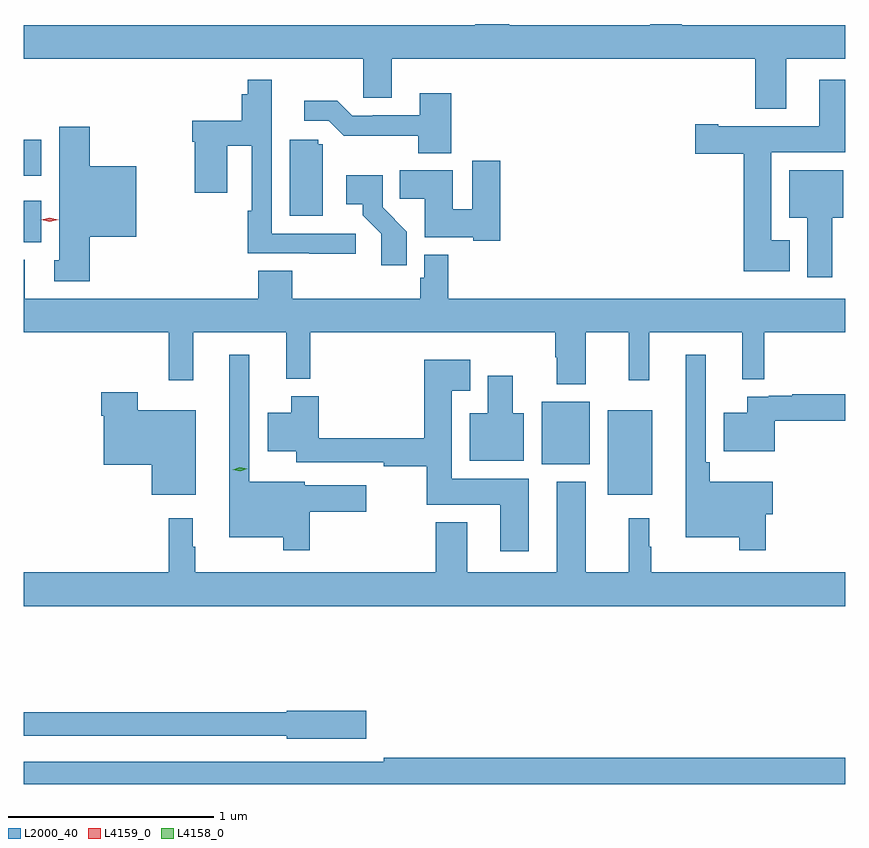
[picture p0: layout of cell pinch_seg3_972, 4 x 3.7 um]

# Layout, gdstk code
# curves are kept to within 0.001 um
import gdstk
lib = gdstk.Library(unit=1e-6, precision=1e-09)
def R(c, l, rs):  # rectangles x0, y0, x1, y1
    for r in rs: c.add(gdstk.rectangle(r[:2], r[2:], *l))
def P(c, l, *ps):  # polygons
    for p in ps: c.add(gdstk.Polygon(p, *l))
L2000_40 = (2000, 40)
L4158_0 = (4158, 0)
L4159_0 = (4159, 0)

pinch_seg3_972 = lib.new_cell('pinch_seg3_972')
R(pinch_seg3_972, L2000_40, [(415.106,728.099,415.321,728.509), (414.785,728.246,415.018,728.551), (412.262,729.327,412.348,729.529), (412.262,729.65,412.348,729.826)])
P(pinch_seg3_972, L2000_40, [(415.975,730.22),(416.262,730.22),(416.262,730.384),(415.466,730.384),(415.466,730.389),(415.313,730.389),(415.313,730.384),(414.626,730.384),(414.626,730.389),(414.461,730.389),(414.461,730.384),(412.262,730.384),(412.262,730.22),(413.916,730.22),(413.916,730.03),(414.055,730.03),(414.055,730.22),(415.823,730.22),(415.823,729.977),(415.975,729.977)],
  [(415.99,729.337),(415.9,729.337),(415.9,729.764),(416.262,729.764),(416.262,730.117),(416.135,730.117),(416.135,729.892),(415.642,729.892),(415.642,729.9),(415.53,729.9),(415.53,729.758),(415.766,729.758),(415.766,729.185),(415.99,729.185)],
  [(413.878,729.369),(413.469,729.369),(413.469,730.117),(413.353,730.117),(413.353,730.048),(413.324,730.048),(413.324,729.919),(413.084,729.919),(413.084,729.815),(413.096,729.815),(413.096,729.567),(413.254,729.567),(413.254,729.797),(413.373,729.797),(413.373,729.479),(413.353,729.479),(413.353,729.273),(413.653,729.273),(413.653,729.271),(413.878,729.271)],
  [(414.344,730.051),(414.191,730.051),(414.191,729.945),(413.962,729.945),(413.962,729.942),(413.862,729.942),(413.789,730.015),(413.628,730.015),(413.628,729.918),(413.748,729.918),(413.821,729.845),(414.184,729.846),(414.184,729.761),(414.344,729.761)],
  [(412.583,729.353),(412.81,729.353),(412.81,729.697),(412.583,729.697),(412.583,729.889),(412.436,729.889),(412.436,729.24),(412.412,729.24),(412.412,729.138),(412.583,729.138)],
  [(413.719,729.804),(413.697,729.804),(413.697,729.825),(413.558,729.825),(413.558,729.456),(413.719,729.456)],
  [(414.581,729.724),(414.446,729.724),(414.446,729.488),(414.352,729.488),(414.352,729.676),(414.094,729.676),(414.094,729.538),(414.215,729.538),(414.215,729.35),(414.45,729.35),(414.45,729.335),(414.581,729.335)],
  [(416.197,729.446),(416.251,729.446),(416.251,729.676),(415.988,729.676),(415.988,729.446),(416.075,729.446),(416.075,729.156),(416.197,729.156)],
  [(414.128,729.378),(414.009,729.497),(414.009,729.652),(413.832,729.652),(413.832,729.512),(413.912,729.512),(413.912,729.457),(414.003,729.367),(414.003,729.216),(414.128,729.216)],
  [(414.997,728.888),(415.208,728.888),(415.208,728.655),(415.307,728.655),(415.307,728.888),(415.76,728.888),(415.76,728.659),(415.868,728.659),(415.868,728.888),(416.262,728.888),(416.262,729.052),(414.329,729.052),(414.329,729.265),(414.213,729.265),(414.213,729.153),(414.193,729.153),(414.193,729.052),(413.57,729.052),(413.57,729.188),(413.405,729.188),(413.405,729.052),(412.267,729.052),(412.267,729.242),(412.262,729.242),(412.262,728.888),(412.969,728.888),(412.969,728.655),(413.087,728.655),(413.087,728.888),(413.54,728.888),(413.54,728.663),(413.657,728.663),(413.657,728.888),(414.85,728.888),(414.85,728.768),(414.857,728.768),(414.857,728.636),(414.997,728.636)],
  [(413.654,728.014),(413.929,728.014),(413.929,728.143),(413.631,728.143),(413.631,728.161),(413.361,728.161),(413.361,728.779),(413.264,728.779),(413.264,727.892),(413.526,727.892),(413.526,727.827),(413.654,727.827)],
  [(415.874,728.003),(415.909,728.003),(415.909,728.161),(415.601,728.161),(415.601,728.257),(415.581,728.257),(415.581,728.779),(415.484,728.779),(415.484,727.892),(415.746,727.892),(415.746,727.827),(415.874,727.827)],
  [(414.721,728.176),(414.346,728.176),(414.346,728.603),(414.436,728.603),(414.436,728.755),(414.212,728.755),(414.212,728.372),(413.699,728.372),(413.699,728.578),(413.564,728.578),(413.564,728.497),(413.45,728.497),(413.45,728.309),(413.589,728.309),(413.589,728.256),(414.016,728.256),(414.016,728.236),(414.224,728.236),(414.224,728.048),(414.581,728.048),(414.581,727.824),(414.721,727.824)],
  [(414.697,728.494),(414.643,728.494),(414.643,728.677),(414.521,728.677),(414.521,728.494),(414.434,728.494),(414.434,728.264),(414.697,728.264)],
  [(413.101,728.509),(412.818,728.509),(412.818,728.596),(412.64,728.596),(412.64,728.483),(412.652,728.483),(412.652,728.243),(412.886,728.243),(412.886,728.099),(413.101,728.099)],
  [(415.919,728.458),(416.262,728.458),(416.262,728.587),(416.002,728.587),(416.002,728.58),(415.888,728.58),(415.888,728.574),(415.784,728.574),(415.784,728.497),(415.67,728.497),(415.67,728.309),(415.919,728.309)],
  [(416.262,727.72),(415.318,727.72),(415.318,727.844),(415.306,727.844),(415.306,727.984),(415.208,727.984),(415.208,727.72),(414.997,727.72),(414.997,728.161),(414.857,728.161),(414.857,727.72),(414.421,727.72),(414.421,727.963),(414.269,727.963),(414.269,727.72),(413.098,727.72),(413.098,727.844),(413.086,727.844),(413.086,727.984),(412.969,727.984),(412.969,727.72),(412.262,727.72),(412.262,727.556),(416.262,727.556)],
  [(413.929,727.046),(413.544,727.046),(413.544,727.04),(412.262,727.04),(412.262,726.924),(413.544,726.924),(413.544,726.911),(413.929,726.911)],
  [(416.262,726.818),(414.016,726.818),(414.016,726.798),(412.262,726.798),(412.262,726.69),(416.262,726.69)])
P(pinch_seg3_972, L4158_0, [(413.316,728.212),(413.28,728.219),(413.28,728.22),(413.28,728.22),(413.315,728.232),(413.35,728.224),(413.351,728.224),(413.35,728.224)])
P(pinch_seg3_972, L4159_0, [(412.39,729.427),(412.349,729.436),(412.349,729.436),(412.349,729.436),(412.389,729.447),(412.43,729.437),(412.43,729.437),(412.43,729.437)])

lib.write_gds('pinch_seg3_972.gds')
